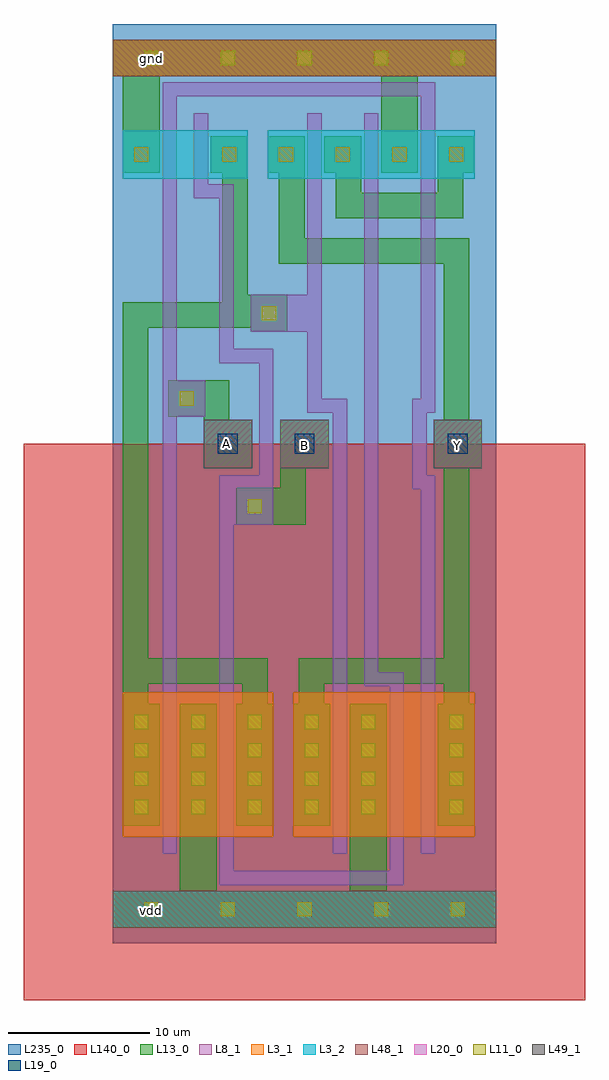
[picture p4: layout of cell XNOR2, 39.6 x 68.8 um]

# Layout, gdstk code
import gdstk
lib = gdstk.Library(unit=1e-6, precision=1e-09)
def R(c, l, rs):  # rectangles x0, y0, x1, y1
    for r in rs: c.add(gdstk.rectangle(r[:2], r[2:], *l))
def A(c, l, x, y, w, h, nx, ny, dx, dy):  # array of equal rectangles
    R(c, l, [(x+i*dx, y+j*dy, x+i*dx+w, y+j*dy+h) for i in range(nx) for j in range(ny)])
def P(c, l, *ps):  # polygons
    for p in ps: c.add(gdstk.Polygon(p, *l))
L3_1 = (3, 1)
L3_2 = (3, 2)
L8_1 = (8, 1)
L11_0 = (11, 0)
L13_0 = (13, 0)
L19_0 = (19, 0)
L20_0 = (20, 0)
L48_1 = (48, 1)
L49_1 = (49, 1)
L140_0 = (140, 0)
L235_0 = (235, 0)

xnor2 = lib.new_cell('XNOR2')
R(xnor2, L3_1, [(0.7,-57.3,11.3,-47.1), (12.7,-57.3,16.7,-47.1), (16.7,-57.3,25.5,-47.1), (0,-3.7,27,-1.1)])
R(xnor2, L3_2, [(0,-63.7,27,-61.1), (0.7,-10.9,9.5,-7.5), (10.9,-10.9,14.9,-7.5), (14.9,-10.9,25.5,-7.5)])
P(xnor2, L8_1, [(15.5,-58.5),(15.5,-27.4),(13.7,-27.4),(13.7,-21.7),(9.7,-21.7),(9.7,-19.1),(13.7,-19.1),(13.7,-6.3),(14.7,-6.3),(14.7,-26.4),(16.5,-26.4),(16.5,-58.5)],
  [(3.5,-58.5),(3.5,-4.1),(22.7,-4.1),(22.7,-27.4),(22.1,-27.4),(22.1,-31.8),(22.7,-31.8),(22.7,-58.5),(21.7,-58.5),(21.7,-32.8),(21.1,-32.8),(21.1,-26.4),(21.7,-26.4),(21.7,-5.1),(4.5,-5.1),(4.5,-25.1),(6.5,-25.1),(6.5,-27.7),(4.5,-27.7),(4.5,-58.5)],
  [(7.5,-60.7),(7.5,-31.8),(10.3,-31.8),(10.3,-23.9),(7.5,-23.9),(7.5,-12.3),(5.7,-12.3),(5.7,-6.3),(6.7,-6.3),(6.7,-11.3),(8.5,-11.3),(8.5,-22.9),(11.3,-22.9),(11.3,-35.3),(8.5,-35.3),(8.5,-59.7),(19.5,-59.7),(19.5,-46.7),(17.7,-46.7),(17.7,-6.3),(18.7,-6.3),(18.7,-45.7),(20.5,-45.7),(20.5,-60.7)])
A(xnor2, L11_0, 2.2, -62.9, 1, 1, 5, 2, 5.4, 60)
A(xnor2, L11_0, 1.5, -55.7, 1, 1, 5, 4, 4, 2)
A(xnor2, L11_0, 23.7, -55.7, 1, 1, 1, 4, 0, 2)
A(xnor2, L11_0, 7.7, -9.7, 1, 1, 5, 1, 4, 0)
R(xnor2, L11_0, [(9.5,-34.5,10.5,-33.5), (4.7,-26.9,5.7,-25.9), (10.5,-20.9,11.5,-19.9), (1.5,-9.7,2.5,-8.7), (7.7,-9.7,8.7,-8.7)])
R(xnor2, L13_0, [(0,-63.7,27,-61.1), (4.7,-61.1,7.3,-47.9), (16.7,-61.1,19.3,-47.9), (0.7,-10.5,3.3,-3.7), (18.9,-10.5,21.5,-3.7), (0,-3.7,27,-1.1)])
P(xnor2, L13_0, [(15.7,-13.7),(15.7,-10.5),(14.9,-10.5),(14.9,-7.9),(17.5,-7.9),(17.5,-11.9),(22.9,-11.9),(22.9,-7.9),(25.5,-7.9),(25.5,-10.5),(24.7,-10.5),(24.7,-13.7)],
  [(6.4,-31.3),(6.4,-27.7),(3.9,-27.7),(3.9,-25.1),(8.2,-25.1),(8.2,-27.9),(9.8,-27.9),(9.8,-31.3)],
  [(8.7,-35.3),(8.7,-32.7),(11.8,-32.7),(11.8,-27.9),(15.2,-27.9),(15.2,-31.3),(13.6,-31.3),(13.6,-35.3)],
  [(0.7,-56.5),(0.7,-19.6),(7.7,-19.6),(7.7,-10.5),(6.9,-10.5),(6.9,-7.9),(9.5,-7.9),(9.5,-19.1),(12.3,-19.1),(12.3,-21.7),(9.7,-21.7),(9.7,-21.4),(2.5,-21.4),(2.5,-44.7),(10.9,-44.7),(10.9,-47.9),(11.3,-47.9),(11.3,-56.5),(8.7,-56.5),(8.7,-47.9),(9.1,-47.9),(9.1,-46.5),(2.5,-46.5),(2.5,-47.9),(3.3,-47.9),(3.3,-56.5)],
  [(23.3,-47.9),(23.3,-31.3),(22.6,-31.3),(22.6,-27.9),(23.3,-27.9),(23.3,-16.9),(11.7,-16.9),(11.7,-10.5),(10.9,-10.5),(10.9,-7.9),(13.5,-7.9),(13.5,-15.1),(25.1,-15.1),(25.1,-27.9),(26,-27.9),(26,-31.3),(25.1,-31.3),(25.1,-47.9)],
  [(12.7,-56.5),(12.7,-47.9),(13.1,-47.9),(13.1,-44.7),(25.1,-44.7),(25.1,-47.9),(25.5,-47.9),(25.5,-56.5),(22.9,-56.5),(22.9,-47.9),(23.3,-47.9),(23.3,-46.5),(14.9,-46.5),(14.9,-47.9),(15.3,-47.9),(15.3,-56.5)])
R(xnor2, L19_0, [(7.4,-30.3,8.8,-28.9), (7.4,-30.3,8.8,-28.9), (7.4,-30.3,8.8,-28.9), (12.8,-30.3,14.2,-28.9), (12.8,-30.3,14.2,-28.9), (12.8,-30.3,14.2,-28.9), (12.8,-30.3,14.2,-28.9), (23.6,-30.3,25,-28.9), (23.6,-30.3,25,-28.9), (23.6,-30.3,25,-28.9), (23.6,-30.3,25,-28.9)])
R(xnor2, L20_0, [(6.4,-31.3,9.8,-27.9), (6.4,-31.3,9.8,-27.9), (6.4,-31.3,9.8,-27.9), (11.8,-31.3,15.2,-27.9), (11.8,-31.3,15.2,-27.9), (11.8,-31.3,15.2,-27.9), (11.8,-31.3,15.2,-27.9), (22.6,-31.3,26,-27.9), (22.6,-31.3,26,-27.9), (22.6,-31.3,26,-27.9), (22.6,-31.3,26,-27.9)])
R(xnor2, L48_1, [(0,-63.7,27,-61.1), (0,-3.7,27,-1.1)])
R(xnor2, L49_1, [(6.4,-31.3,9.8,-27.9), (11.8,-31.3,15.2,-27.9), (22.6,-31.3,26,-27.9)])
R(xnor2, L140_0, [(-6.3,-68.8,33.3,-29.6)])
R(xnor2, L235_0, [(0,-64.8,27,0)])
xnor2.add(gdstk.Label('gnd', (2.7,-2.4), layer=48, texttype=0))
xnor2.add(gdstk.Label('vdd', (2.7,-62.5), layer=48, texttype=0))
xnor2.add(gdstk.Label('A', (8,-29.6), layer=49, texttype=0))
xnor2.add(gdstk.Label('B', (13.5,-29.7), layer=49, texttype=0))
xnor2.add(gdstk.Label('Y', (24.3,-29.7), layer=49, texttype=0))

lib.write_gds('XNOR2.gds')
